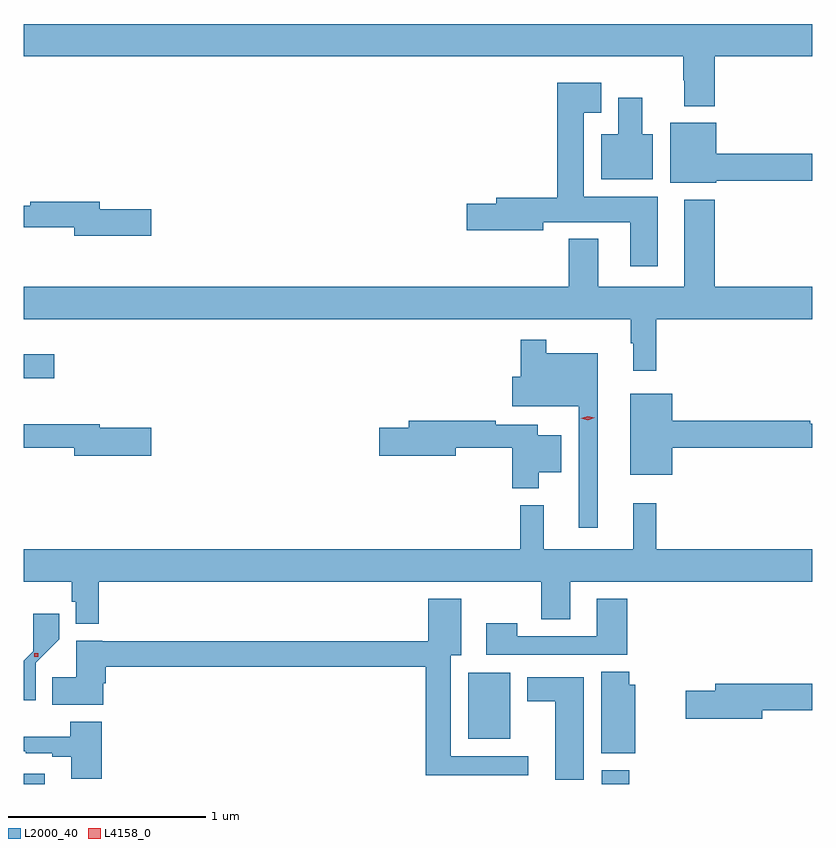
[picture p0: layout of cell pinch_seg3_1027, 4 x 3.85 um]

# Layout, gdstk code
import gdstk
lib = gdstk.Library(unit=1e-6, precision=1e-09)
def R(c, l, rs):  # rectangles x0, y0, x1, y1
    for r in rs: c.add(gdstk.rectangle(r[:2], r[2:], *l))
def P(c, l, *ps):  # polygons
    for p in ps: c.add(gdstk.Polygon(p, *l))
L2000_40 = (2000, 40)
L4158_0 = (4158, 0)

pinch_seg3_1027 = lib.new_cell('pinch_seg3_1027')
R(pinch_seg3_1027, L2000_40, [(514.07,679.911,514.177,679.963), (517.001,679.911,517.142,679.981), (516.326,680.141,516.538,680.476), (514.07,681.968,514.225,682.09)])
P(pinch_seg3_1027, L2000_40, [(514.07,683.6),(517.414,683.6),(517.414,683.48),(517.421,683.48),(517.421,683.348),(517.574,683.348),(517.574,683.6),(518.07,683.6),(518.07,683.764),(514.07,683.764)],
  [(517.285,682.888),(516.91,682.888),(516.91,683.315),(517,683.315),(517,683.467),(516.776,683.467),(516.776,682.883),(516.467,682.883),(516.467,682.853),(516.318,682.853),(516.318,682.718),(516.706,682.718),(516.706,682.76),(517.145,682.76),(517.145,682.536),(517.285,682.536)],
  [(517.261,683.206),(517.207,683.206),(517.207,683.389),(517.085,683.389),(517.085,683.206),(516.998,683.206),(516.998,682.976),(517.261,682.976)],
  [(517.582,682.969),(518.07,682.969),(518.07,683.105),(517.582,683.105),(517.582,683.263),(517.349,683.263),(517.349,682.958),(517.582,682.958)],
  [(517.277,682.268),(518.07,682.268),(518.07,682.432),(517.574,682.432),(517.574,682.873),(517.421,682.873),(517.421,682.432),(516.985,682.432),(516.985,682.675),(516.833,682.675),(516.833,682.432),(514.07,682.432),(514.07,682.268),(517.149,682.268),(517.149,682.145),(517.16,682.145),(517.16,682.005),(517.277,682.005)],
  [(514.717,682.826),(514.456,682.826),(514.456,682.862),(514.103,682.862),(514.103,682.843),(514.07,682.843),(514.07,682.734),(514.328,682.734),(514.328,682.691),(514.717,682.691)],
  [(516.982,682.096),(516.721,682.096),(516.721,682.162),(516.592,682.162),(516.592,681.975),(516.548,681.975),(516.548,681.827),(516.885,681.827),(516.885,681.21),(516.982,681.21)],
  [(517.36,681.616),(518.07,681.616),(518.07,681.737),(518.058,681.737),(518.058,681.752),(517.36,681.752),(517.36,681.889),(517.145,681.889),(517.145,681.479),(517.36,681.479)],
  [(516.682,681.491),(516.796,681.491),(516.796,681.679),(516.676,681.679),(516.676,681.732),(516.464,681.732),(516.464,681.752),(516.023,681.752),(516.023,681.716),(515.874,681.716),(515.874,681.574),(516.262,681.574),(516.262,681.616),(516.548,681.616),(516.548,681.41),(516.682,681.41)],
  [(514.717,681.716),(514.456,681.716),(514.456,681.735),(514.07,681.735),(514.07,681.616),(514.328,681.616),(514.328,681.574),(514.717,681.574)],
  [(514.451,680.936),(516.694,680.936),(516.694,680.746),(516.841,680.746),(516.841,680.936),(518.07,680.936),(518.07,681.1),(517.277,681.1),(517.277,681.334),(517.16,681.334),(517.16,681.1),(516.707,681.1),(516.707,681.325),(516.589,681.325),(516.589,681.1),(514.07,681.1),(514.07,680.936),(514.315,680.936),(514.315,680.835),(514.335,680.835),(514.335,680.723),(514.451,680.723)],
  [(516.628,680.052),(516.235,680.052),(516.235,680.564),(516.289,680.564),(516.289,680.851),(516.122,680.851),(516.122,680.635),(514.47,680.635),(514.47,680.638),(514.337,680.638),(514.337,680.451),(514.216,680.451),(514.216,680.312),(514.474,680.312),(514.474,680.423),(514.487,680.423),(514.487,680.506),(516.11,680.506),(516.11,679.955),(516.628,679.955)],
  [(517.13,680.851),(516.977,680.851),(516.977,680.661),(516.573,680.661),(516.573,680.725),(516.417,680.725),(516.417,680.565),(517.13,680.565)],
  [(514.131,680.525),(514.25,680.644),(514.25,680.773),(514.12,680.773),(514.12,680.585),(514.07,680.535),(514.07,680.336),(514.131,680.336)],
  [(517.171,680.413),(517.14,680.413),(517.14,680.48),(516.998,680.48),(516.998,680.066),(517.171,680.066)],
  [(516.91,680.452),(516.623,680.452),(516.623,680.33),(516.767,680.33),(516.767,679.932),(516.91,679.932)],
  [(517.816,680.284),(518.07,680.284),(518.07,680.42),(517.577,680.42),(517.577,680.384),(517.428,680.384),(517.428,680.242),(517.816,680.242)],
  [(514.466,680.227),(514.306,680.227),(514.306,680.15),(514.07,680.15),(514.07,680.076),(514.081,680.076),(514.081,680.068),(514.217,680.068),(514.217,680.05),(514.313,680.05),(514.313,679.938),(514.466,679.938)])
R(pinch_seg3_1027, L4158_0, [(514.125,680.555,514.145,680.575)])
P(pinch_seg3_1027, L4158_0, [(516.931,681.756),(516.895,681.764),(516.895,681.764),(516.895,681.764),(516.93,681.776),(516.966,681.767),(516.966,681.767),(516.966,681.767)])

lib.write_gds('pinch_seg3_1027.gds')
